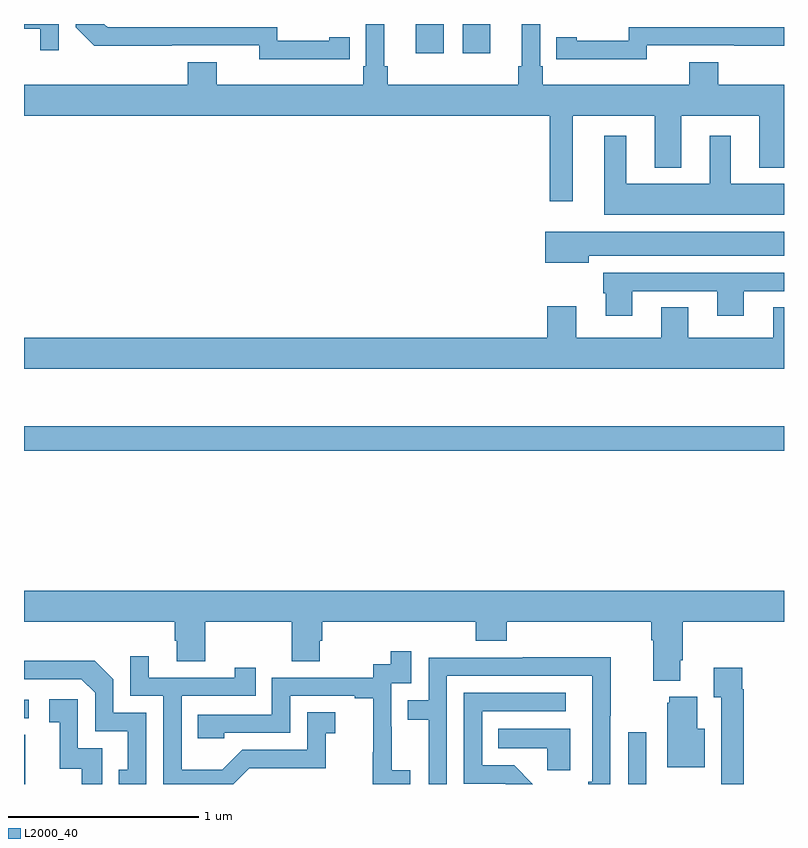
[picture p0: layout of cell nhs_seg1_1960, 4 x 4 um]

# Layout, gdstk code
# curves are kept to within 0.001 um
import gdstk
lib = gdstk.Library(unit=1e-6, precision=1e-09)
def R(c, l, rs):  # rectangles x0, y0, x1, y1
    for r in rs: c.add(gdstk.rectangle(r[:2], r[2:], *l))
def P(c, l, *ps):  # polygons
    for p in ps: c.add(gdstk.Polygon(p, *l))
L2000_40 = (2000, 40)

nhs_seg1_1960 = lib.new_cell('nhs_seg1_1960')
R(nhs_seg1_1960, L2000_40, [(217,564.199,217.006,564.457), (220.179,564.199,220.275,564.472), (217,564.546,217.024,564.642), (217,565.954,221,566.083), (219.062,568.044,219.208,568.199), (219.308,568.044,219.454,568.199)])
P(nhs_seg1_1960, L2000_40, [(219.889,567.716),(220.319,567.716),(220.319,567.443),(220.459,567.443),(220.459,567.716),(220.871,567.716),(220.871,567.443),(221,567.443),(221,567.88),(220.655,567.88),(220.655,567.997),(220.502,567.997),(220.502,567.88),(219.731,567.88),(219.731,567.976),(219.717,567.976),(219.717,568.199),(219.62,568.199),(219.62,567.976),(219.601,567.976),(219.601,567.88),(218.915,567.88),(218.915,567.976),(218.896,567.976),(218.896,568.199),(218.799,568.199),(218.799,567.976),(218.786,567.976),(218.786,567.88),(218.014,567.88),(218.014,567.997),(217.862,567.997),(217.862,567.88),(217,567.88),(217,567.716),(219.768,567.716),(219.768,567.267),(219.889,567.267)],
  [(217.182,568.199),(217,568.199),(217,568.173),(217.085,568.173),(217.085,568.062),(217.182,568.062)],
  [(218.606,568.014),(218.714,568.014),(218.714,568.13),(218.606,568.13),(218.606,568.11),(218.334,568.11),(218.334,568.182),(217.44,568.182),(217.423,568.199),(217.272,568.199),(217.272,568.182),(217.37,568.085),(218.238,568.086),(218.238,568.013)],
  [(220.278,568.086),(220.738,568.086),(220.738,568.085),(221,568.085),(221,568.182),(220.182,568.182),(220.182,568.11),(219.91,568.11),(219.91,568.13),(219.802,568.13),(219.802,568.014),(219.91,568.014),(219.91,568.013),(220.278,568.013)],
  [(221,567.358),(220.72,567.358),(220.72,567.61),(220.61,567.61),(220.61,567.358),(220.171,567.358),(220.171,567.61),(220.055,567.61),(220.055,567.194),(221,567.194)],
  [(219.973,566.978),(221,566.978),(221,567.106),(219.744,567.106),(219.744,566.942),(219.973,566.942)],
  [(220.201,566.793),(220.649,566.793),(220.649,566.664),(220.789,566.664),(220.789,566.793),(221,566.793),(221,566.889),(220.049,566.889),(220.049,566.781),(220.061,566.781),(220.061,566.664),(220.201,566.664)],
  [(221,566.708),(220.943,566.708),(220.943,566.548),(220.495,566.548),(220.495,566.708),(220.355,566.708),(220.355,566.548),(219.907,566.548),(219.907,566.713),(219.755,566.713),(219.755,566.548),(217,566.548),(217,566.384),(221,566.384)],
  [(220.453,564.85),(220.466,564.85),(220.466,565.052),(221,565.052),(221,565.216),(217,565.216),(217,565.052),(217.793,565.052),(217.793,564.954),(217.805,564.954),(217.805,564.844),(217.953,564.844),(217.953,565.052),(218.41,565.052),(218.41,564.844),(218.557,564.844),(218.557,564.954),(218.57,564.954),(218.57,565.052),(219.377,565.052),(219.377,564.953),(219.542,564.953),(219.542,565.052),(220.301,565.052),(220.301,564.956),(220.313,564.956),(220.313,564.743),(220.453,564.743)],
  [(219.034,564.271),(218.936,564.271),(218.936,564.5),(218.934,564.5),(218.934,564.729),(219.039,564.729),(219.039,564.898),(218.931,564.898),(218.931,564.828),(218.838,564.828),(218.838,564.759),(218.304,564.759),(218.304,564.564),(217.915,564.564),(217.915,564.441),(218.055,564.441),(218.055,564.468),(218.4,564.468),(218.4,564.663),(218.741,564.663),(218.741,564.651),(218.837,564.651),(218.837,564.367),(218.836,564.367),(218.836,564.199),(219.034,564.199)],
  [(218.185,564.282),(218.589,564.282),(218.589,564.467),(218.638,564.467),(218.638,564.577),(218.49,564.577),(218.49,564.378),(218.148,564.378),(218.044,564.274),(217.83,564.274),(217.83,564.663),(218.219,564.663),(218.219,564.811),(218.108,564.811),(218.108,564.759),(217.657,564.759),(217.657,564.871),(217.56,564.871),(217.56,564.663),(217.734,564.663),(217.734,564.199),(218.102,564.199)],
  [(219.225,564.768),(219.99,564.768),(219.99,564.21),(219.971,564.21),(219.971,564.199),(220.086,564.199),(220.086,564.559),(220.089,564.559),(220.089,564.866),(219.625,564.866),(219.625,564.864),(219.129,564.864),(219.129,564.639),(219.019,564.639),(219.019,564.538),(219.129,564.538),(219.129,564.199),(219.225,564.199)],
  [(217.644,564.573),(217.47,564.573),(217.47,564.75),(217.372,564.848),(217,564.848),(217,564.75),(217.302,564.75),(217.374,564.678),(217.374,564.477),(217.547,564.477),(217.547,564.273),(217.498,564.273),(217.498,564.199),(217.644,564.199)],
  [(220.787,564.698),(220.78,564.698),(220.78,564.811),(220.631,564.811),(220.631,564.655),(220.671,564.655),(220.671,564.199),(220.787,564.199)],
  [(219.58,564.297),(219.411,564.297),(219.411,564.582),(219.85,564.582),(219.85,564.678),(219.315,564.678),(219.315,564.201),(219.534,564.201),(219.536,564.199),(219.678,564.199)],
  [(220.582,564.49),(220.543,564.49),(220.543,564.658),(220.397,564.658),(220.397,564.627),(220.385,564.627),(220.385,564.287),(220.582,564.287)],
  [(217.413,564.387),(217.284,564.387),(217.284,564.646),(217.134,564.646),(217.134,564.525),(217.187,564.525),(217.187,564.279),(217.305,564.279),(217.305,564.199),(217.413,564.199)],
  [(219.874,564.49),(219.496,564.49),(219.496,564.386),(219.753,564.386),(219.753,564.271),(219.874,564.271)])

lib.write_gds('nhs_seg1_1960.gds')
